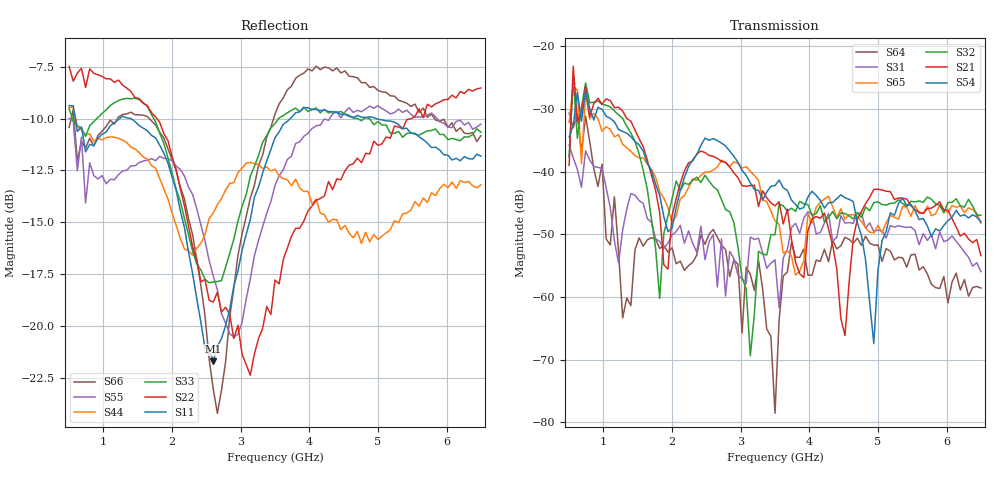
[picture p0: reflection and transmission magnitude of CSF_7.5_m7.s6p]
!Keysight Technologies,M9804A,MY58100912,A.14.10.03
!Date: Thursday, April 27, 2023 10:28:33
!Correction: S11(C  6-Port  )
!S12(C  6-Port  )
!S13(C  6-Port  )
!S14(C  6-Port  )
!S15(C  6-Port  )
!S16(C  6-Port  )
!S21(C  6-Port  )
!S22(C  6-Port  )
!S23(C  6-Port  )
!S24(C  6-Port  )
!S25(C  6-Port  )
!S26(C  6-Port  )
!S31(C  6-Port  )
!S32(C  6-Port  )
!S33(C  6-Port  )
!S34(C  6-Port  )
!S35(C  6-Port  )
!S36(C  6-Port  )
!S41(C  6-Port  )
!S42(C  6-Port  )
!S43(C  6-Port  )
!S44(C  6-Port  )
!S45(C  6-Port  )
!S46(C  6-Port  )
!S51(C  6-Port  )
!S52(C  6-Port  )
!S53(C  6-Port  )
!S54(C  6-Port  )
!S55(C  6-Port  )
!S56(C  6-Port  )
!S61(C  6-Port  )
!S62(C  6-Port  )
!S63(C  6-Port  )
!S64(C  6-Port  )
!S65(C  6-Port  )
!S66(C  6-Port  )
!S6P File: Measurement: :
# Hz S  RI  R 50
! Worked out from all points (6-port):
!   101 points, 500 MHz to 6.5 GHz, reference 50 ohm
!   strongest paths, dB at 500 MHz, 2 GHz, 3.5 GHz, 5 GHz, 6.5 GHz:
!     S54: -34.5, -49.0, -42.2, -55.8, -48.0
!     S21: -39.0, -47.0, -45.5, -42.8, -53.4
!     S32: -37.6, -44.3, -50.1, -44.8, -46.9
!     S65: -32.1, -48.2, -47.9, -48.6, -48.2
!     S31: -35.7, -50.1, -54.1, -49.3, -56.0
!     S64: -30.7, -52.2, -78.6, -51.7, -58.6
!   lowest |S11| = -21.7 dB at 2.6 GHz (marker M1), VSWR 1.18, Z = 42.7 + j2.05 ohm
!   |S11| at or under -10 dB: 589.8 MHz to 1.238 GHz (647.9 MHz wide, 70.9 % of centre); 1.401 GHz to 3.723 GHz (2.322 GHz wide, 90.6 % of centre); 4.975 GHz to end of sweep
